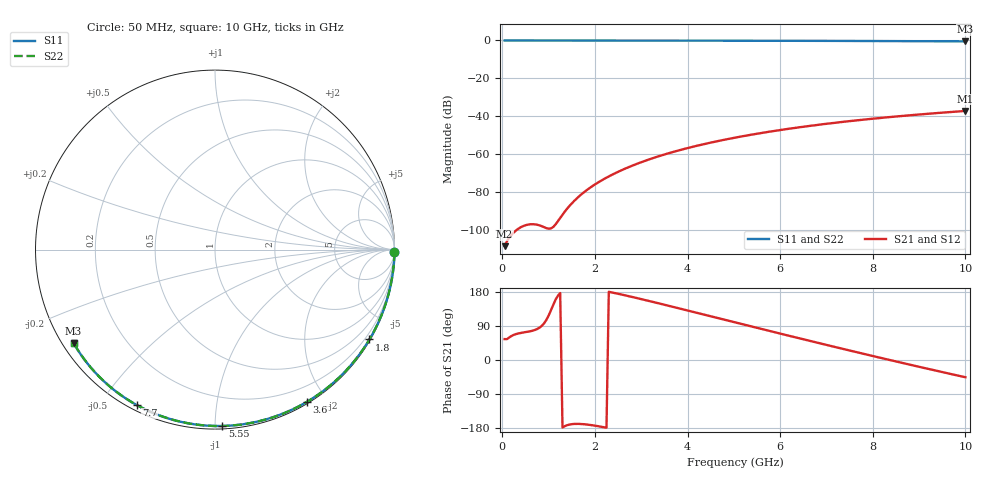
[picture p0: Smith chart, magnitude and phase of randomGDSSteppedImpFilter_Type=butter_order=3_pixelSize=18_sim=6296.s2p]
! freq	dB(S11)	phase(S11)	dB(S12)	phase(S12)
!  dB(S21)	phase(S21)	dB(S22)	phase(S22)
!S-par simulation data
#  GHz  S  DB  R 50
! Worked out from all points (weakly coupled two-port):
!   200 points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, 50 MHz to 10 GHz, reference 50 ohm
!   highest |S21| = -37.27 dB at 10 GHz (marker M1); lowest = -108.8 dB at 50 MHz (marker M2)
!   lowest |S11| = -0.5 dB at 10 GHz (marker M3), VSWR 34.92, Z = 1.56 - j15 ohm
!   |S11| at or under -10 dB: nowhere
!   |S22| runs from -0.5 to 0.0 dB; largest |S21 - S12| = 0
!   S11 on the Smith chart (normalised r, x): 50 MHz: open; 1.8 GHz: 0.03, -3.71; 3.6 GHz: 0.02, -1.77; 5.55 GHz: 0.02, -1.04; 7.7 GHz: 0.02, -0.62; 10 GHz: 0.03, -0.30
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0.05  -0.00 -0.9  -108.78 55.2  -108.78 55.2  -0.00 -0.9
0.45  -0.01 -7.7  -98.17 72.5  -98.17 72.5  -0.01 -7.7
0.9  -0.02 -15.2  -98.71 96.4  -98.71 96.4  -0.02 -15.2
1.3  -0.03 -21.9  -92.13 -178.1  -92.13 -178.1  -0.03 -21.9
1.75  -0.04 -29.4  -80.53 -169.3  -80.53 -169.3  -0.04 -29.4
1.8  -0.04 -30.2  -79.57 -169.9  -79.57 -169.9  -0.04 -30.2
1.95  -0.04 -32.6  -76.95 -172.3  -76.95 -172.3  -0.04 -32.6
2.1  -0.04 -35.1  -74.63 -175.3  -74.63 -175.3  -0.04 -35.1
2.3  -0.05 -38.3  -71.89 180.0  -71.89 180.0  -0.05 -38.3
2.5  -0.05 -41.5  -69.46 174.8  -69.46 174.8  -0.05 -41.5
2.9  -0.06 -47.9  -65.30 163.6  -65.30 163.6  -0.06 -47.9
3.4  -0.07 -55.7  -61.05 148.9  -61.05 148.9  -0.07 -55.7
3.6  -0.08 -58.8  -59.57 142.9  -59.57 142.9  -0.08 -58.8
4.3  -0.10 -69.4  -55.12 121.5  -55.12 121.5  -0.10 -69.4
5.05  -0.12 -80.4  -51.28 98.6  -51.28 98.6  -0.12 -80.4
5.55  -0.14 -87.6  -49.11 83.3  -49.11 83.3  -0.14 -87.6
6.1  -0.17 -95.3  -47.00 66.7  -47.00 66.7  -0.17 -95.3
6.7  -0.20 -103.5  -44.98 48.7  -44.98 48.7  -0.20 -103.5
7.7  -0.27 -116.8  -42.12 19.2  -42.12 19.2  -0.27 -116.8
8.35  -0.32 -125.2  -40.55 0.4  -40.55 0.4  -0.32 -125.3
9.2  -0.40 -136.2  -38.75 -23.5  -38.75 -23.5  -0.40 -136.2
10  -0.50 -146.5  -37.27 -45.5  -37.27 -45.5  -0.50 -146.5
